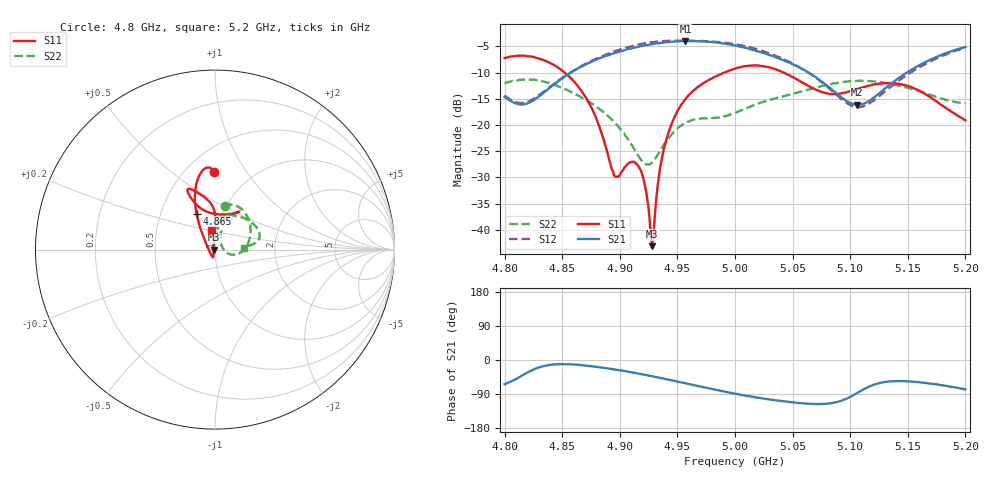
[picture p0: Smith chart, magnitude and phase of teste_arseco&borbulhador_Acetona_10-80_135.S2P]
! Network Analyzer HP8722D
! Hewlett-Packard
! Data name: Linha & Wilkinson
! Saver's name: Rodrigo Anjos
! Comments: Teste da utilização de aquisição
! continua pelo VNA HP8722D
! Time and date: 25/4/2025 16:23
!  Frequency  S11  S21  S12  S22
# HZ  S  MA R 50
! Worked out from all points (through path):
!   401 points, 4.8 GHz to 5.2 GHz, reference 50 ohm
!   highest |S21| = -3.97 dB at 4.957 GHz (marker M1); lowest = -16.1 dB at 5.106 GHz (marker M2)
!   lowest |S11| = -43.1 dB at 4.928 GHz (marker M3), VSWR 1.01, Z = 49.3 - j0.0984 ohm
!   |S11| at or under -10 dB: 4.852 GHz to 4.991 GHz (138.4 MHz wide, 2.81 % of centre); 5.042 GHz to end of sweep
!   |S22| runs from -27.6 to -11.3 dB; largest |S21 - S12| = 1.2
!   S11 on the Smith chart (normalised r, x): 4.8 GHz: 0.67, +0.72; 4.865 GHz: 0.76, +0.32; 5.2 GHz: 0.94, +0.21
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4.8e9  0.4352 90.8  0.186 -63.9  0.1912 69.6  0.251 77.6
4.82e9  0.4546 97.1  0.1613 -32.6  0.1669 98.2  0.2715 61.9
4.844e9  0.3665 106.9  0.2496 -11.6  0.2529 119.2  0.2403 35.6
4.865e9  0.225 117.1  0.3531 -13.0  0.3574 120.9  0.188 11.3
4.867e9  0.2094 118.4  0.3632 -13.7  0.367 120.7  0.1828 8.7
4.88e9  0.1123 128.4  0.4219 -18.2  0.4314 118.4  0.1489 -4.9
4.895e9  0.03293 -174.8  0.4848 -24.9  0.5023 113.7  0.1075 -15.6
4.91e9  0.04441 -106.7  0.5366 -32.4  0.5647 107.1  0.06517 -13.8
4.917e9  0.03912 -103.1  0.5611 -36.3  0.588 103.7  0.04896 -1.4
4.922e9  0.02582 -107.4  0.5746 -39.2  0.6025 100.9  0.04276 15.9
4.928e9  0.006995 -171.8  0.5907 -42.9  0.6175 97.1  0.04389 40.3
4.93e9  0.01188 123.4  0.5965 -44.0  0.6196 96.0  0.04653 47.9
4.934e9  0.03265 99.6  0.6038 -46.7  0.6298 93.4  0.0545 57.4
4.943e9  0.0897 90.9  0.6195 -52.3  0.6369 87.6  0.07616 68.6
4.957e9  0.1775 89.3  0.6332 -61.3  0.6409 78.7  0.1053 70.9
5e9  0.3455 109.2  0.5746 -89.0  0.593 50.9  0.1311 88.5
5.03e9  0.3543 115.2  0.4651 -103.9  0.4816 33.9  0.173 85.6
5.067e9  0.2264 105.4  0.3013 -115.8  0.299 23.6  0.222 57.2
5.106e9  0.22 64.8  0.1561 -87.3  0.1481 55.7  0.2634 24.9
5.134e9  0.2513 57.3  0.24 -56.6  0.2259 88.7  0.2482 12.4
5.169e9  0.1859 69.9  0.4183 -61.9  0.4021 84.9  0.1948 6.9
5.2e9  0.111 100.6  0.5545 -77.4  0.5441 70.2  0.1614 3.9
